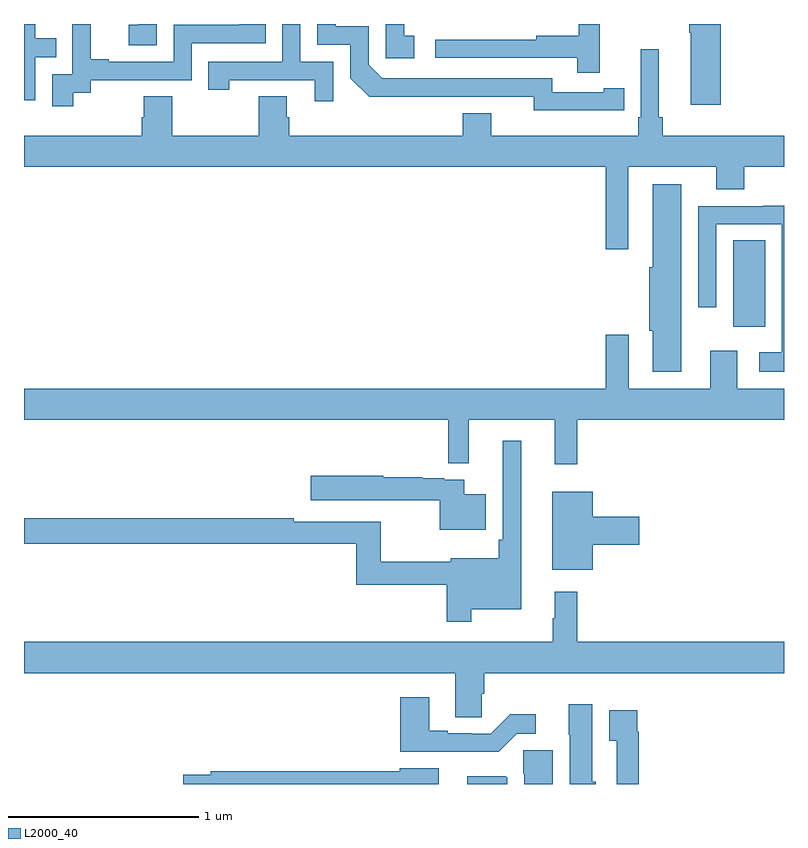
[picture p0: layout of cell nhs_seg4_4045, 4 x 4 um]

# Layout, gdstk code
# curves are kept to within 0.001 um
import gdstk
lib = gdstk.Library(unit=1e-6, precision=1e-09)
def R(c, l, rs):  # rectangles x0, y0, x1, y1
    for r in rs: c.add(gdstk.rectangle(r[:2], r[2:], *l))
def P(c, l, *ps):  # polygons
    for p in ps: c.add(gdstk.Polygon(p, *l))
L2000_40 = (2000, 40)

nhs_seg4_4045 = lib.new_cell('nhs_seg4_4045')
R(nhs_seg4_4045, L2000_40, [(328.733,801.306,328.9,801.761)])
P(nhs_seg4_4045, L2000_40, [(328.667,802.9),(328.501,802.9),(328.501,802.855),(328.508,802.855),(328.508,802.476),(328.667,802.476)],
  [(327.055,802.839),(327.002,802.839),(327.002,802.9),(326.904,802.9),(326.904,802.719),(327.055,802.719)],
  [(325.059,802.725),(325.169,802.725),(325.169,802.826),(325.059,802.826),(325.059,802.9),(325,802.9),(325,802.5),(325.059,802.5)],
  [(325.258,802.537),(325.35,802.537),(325.35,802.605),(325.884,802.605),(325.884,802.8),(326.273,802.8),(326.273,802.9),(326.133,802.9),(326.133,802.896),(325.788,802.896),(325.788,802.701),(325.447,802.701),(325.447,802.714),(325.352,802.714),(325.352,802.9),(325.253,802.9),(325.253,802.865),(325.254,802.865),(325.254,802.635),(325.149,802.635),(325.149,802.467),(325.258,802.467)],
  [(328.052,802.446),(328.16,802.446),(328.16,802.562),(328.052,802.562),(328.052,802.542),(327.78,802.542),(327.78,802.614),(326.886,802.614),(326.814,802.686),(326.814,802.887),(326.641,802.887),(326.641,802.9),(326.544,802.9),(326.544,802.791),(326.718,802.791),(326.718,802.614),(326.816,802.517),(327.684,802.518),(327.684,802.445)],
  [(328.031,802.9),(327.921,802.9),(327.921,802.838),(327.697,802.838),(327.697,802.818),(327.165,802.818),(327.165,802.722),(327.913,802.722),(327.913,802.644),(328.031,802.644)],
  [(326.628,802.701),(326.454,802.701),(326.454,802.9),(326.358,802.9),(326.358,802.701),(325.969,802.701),(325.969,802.554),(326.08,802.554),(326.08,802.605),(326.531,802.605),(326.531,802.494),(326.628,802.494)],
  [(325.698,802.9),(325.6,802.9),(325.6,802.897),(325.551,802.897),(325.551,802.788),(325.698,802.788)],
  [(328.18,802.148),(328.643,802.148),(328.643,802.031),(328.791,802.031),(328.791,802.148),(329,802.148),(329,802.312),(328.361,802.312),(328.361,802.408),(328.342,802.408),(328.342,802.768),(328.245,802.768),(328.245,802.408),(328.232,802.408),(328.232,802.312),(327.46,802.312),(327.46,802.429),(327.308,802.429),(327.308,802.312),(326.396,802.312),(326.396,802.41),(326.383,802.41),(326.383,802.52),(326.236,802.52),(326.236,802.312),(325.779,802.312),(325.779,802.52),(325.631,802.52),(325.631,802.41),(325.619,802.41),(325.619,802.312),(325,802.312),(325,802.148),(328.063,802.148),(328.063,801.714),(328.18,801.714)],
  [(328.459,802.057),(328.31,802.057),(328.31,801.621),(328.292,801.621),(328.292,801.285),(328.31,801.285),(328.31,801.069),(328.459,801.069)],
  [(329,801.944),(328.892,801.944),(328.892,801.942),(328.548,801.942),(328.548,801.408),(328.644,801.408),(328.644,801.846),(328.989,801.846),(328.989,801.172),(328.869,801.172),(328.869,801.071),(329,801.071)],
  [(327.911,800.816),(329,800.816),(329,800.98),(328.753,800.98),(328.753,801.181),(328.613,801.181),(328.613,800.98),(328.183,800.98),(328.183,801.265),(328.062,801.265),(328.062,800.98),(325,800.98),(325,800.816),(327.232,800.816),(327.232,800.587),(327.341,800.587),(327.341,800.816),(327.794,800.816),(327.794,800.583),(327.911,800.583)],
  [(327.355,799.82),(327.616,799.82),(327.616,800.707),(327.519,800.707),(327.519,800.185),(327.499,800.185),(327.499,800.089),(327.245,800.089),(327.245,800.071),(326.878,800.071),(326.878,800.28),(326.42,800.28),(326.42,800.3),(325,800.3),(325,800.164),(326.749,800.164),(326.749,799.95),(327.226,799.95),(327.226,799.755),(327.355,799.755)],
  [(327.43,800.425),(327.316,800.425),(327.316,800.502),(327.212,800.502),(327.212,800.508),(327.098,800.508),(327.098,800.515),(326.892,800.515),(326.892,800.523),(326.508,800.523),(326.508,800.393),(326.892,800.393),(326.892,800.394),(327.187,800.394),(327.187,800.237),(327.43,800.237)],
  [(327.994,800.159),(328.237,800.159),(328.237,800.306),(327.994,800.306),(327.994,800.437),(327.779,800.437),(327.779,800.027),(327.994,800.027)],
  [(327.408,799.374),(327.422,799.374),(327.422,799.484),(329,799.484),(329,799.648),(327.911,799.648),(327.911,799.912),(327.794,799.912),(327.794,799.772),(327.783,799.772),(327.783,799.648),(325,799.648),(325,799.484),(327.269,799.484),(327.269,799.252),(327.408,799.252)],
  [(327.594,799.164),(327.694,799.164),(327.694,799.267),(327.559,799.267),(327.456,799.164),(327.356,799.164),(327.356,799.167),(327.229,799.167),(327.229,799.18),(327.133,799.18),(327.133,799.357),(326.981,799.357),(326.981,799.07),(327.499,799.07)],
  [(328.009,798.912),(327.991,798.912),(327.991,799.321),(327.866,799.321),(327.866,799.158),(327.872,799.158),(327.872,798.9),(328.009,798.9)],
  [(328.235,799.175),(328.228,799.175),(328.228,799.288),(328.079,799.288),(328.079,799.127),(328.119,799.127),(328.119,798.9),(328.235,798.9)],
  [(327.784,799.077),(327.628,799.077),(327.628,798.954),(327.632,798.954),(327.632,798.9),(327.784,798.9)],
  [(327.184,798.982),(326.978,798.982),(326.978,798.968),(325.984,798.968),(325.984,798.948),(325.838,798.948),(325.838,798.9),(327.184,798.9)],
  [(327.544,798.932),(327.536,798.94),(327.332,798.94),(327.332,798.9),(327.544,798.9)])

lib.write_gds('nhs_seg4_4045.gds')
